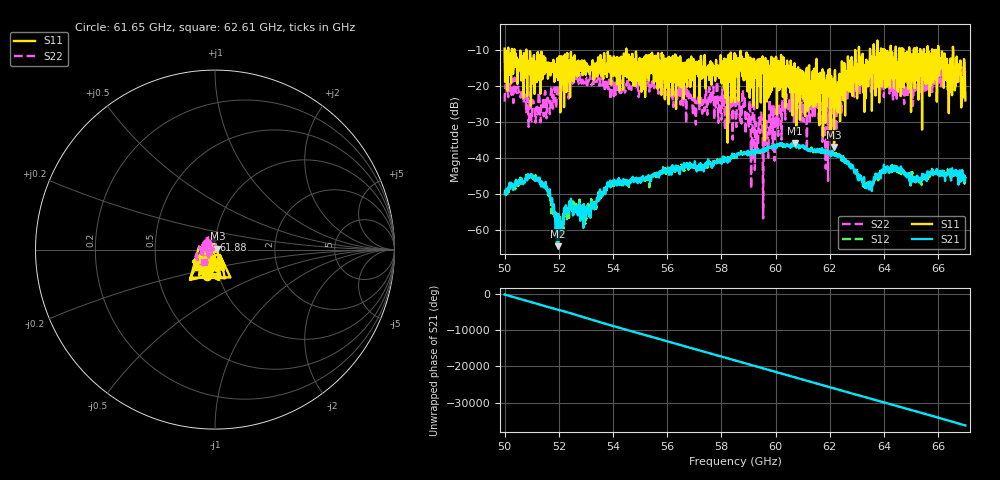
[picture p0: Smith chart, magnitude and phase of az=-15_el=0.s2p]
!Created with skrf (http://scikit-rf.org).
# GHz S RI R 50.0
!freq ReS11 ImS11 ReS21 ImS21 ReS12 ImS12 ReS22 ImS22
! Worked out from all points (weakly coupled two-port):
!   1001 points, 50 GHz to 67 GHz, reference 50 ohm
!   highest |S21| = -35.82 dB at 60.71 GHz (marker M1); lowest = -64.5 dB at 51.97 GHz (marker M2)
!   lowest |S11| = -37.0 dB at 62.16 GHz (marker M3), VSWR 1.03, Z = 51.4 + j0.49 ohm
!   |S11| at or under -10 dB: 50.8 GHz to 54.49 GHz (3.687 GHz wide, 7 % of centre); 54.49 GHz to 63.07 GHz (8.581 GHz wide, 14.6 % of centre); 66.01 GHz to 66.54 GHz (530.3 MHz wide, 0.8 % of centre) (the widest 3 of 27)
!   |S22| runs from -56.8 to -13.8 dB; largest |S21 - S12| = 0.0022
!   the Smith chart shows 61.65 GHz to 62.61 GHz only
!   S11 on the Smith chart (normalised r, x): 61.65 GHz: 0.88, -0.26; 61.88 GHz: 0.98, +0.10; 62.61 GHz: 0.86, -0.11
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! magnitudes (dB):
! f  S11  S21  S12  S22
! 50 GHz  -9.6  -50.1  -50.0  -24.4
! 50.42 GHz  -13.2  -47.2  -46.1  -21.6
! 51.17 GHz  -15.3  -46.3  -45.9  -26.0
! 51.58 GHz  -13.5  -49.3  -49.2  -23.3
! 51.97 GHz  -18.4  -64.5  -60.5  -19.9
! 52.41 GHz  -23.2  -52.7  -52.0  -16.7
! 52.84 GHz  -13.8  -53.7  -54.8  -19.4
! 53.94 GHz  -12.3  -46.8  -46.6  -19.7
! 55.68 GHz  -13.5  -44.8  -44.5  -22.2
! 58.5 GHz  -24.6  -39.7  -40.0  -24.5
! 59.62 GHz  -12.3  -37.3  -37.0  -36.4
! 59.84 GHz  -11.9  -36.7  -37.1  -25.5
! 60.71 GHz  -18.3  -35.8  -36.3  -20.7
! 61.34 GHz  -25.2  -37.5  -37.3  -25.9
! 61.65 GHz  -16.4  -38.5  -37.7  -24.8
! 61.88 GHz  -25.6  -38.6  -37.7  -23.2
! 62.16 GHz  -37.0  -38.9  -38.4  -28.0
! 62.61 GHz  -20.7  -41.0  -41.1  -20.6
! 63.38 GHz  -19.0  -47.6  -47.9  -19.5
! 64.18 GHz  -17.7  -44.1  -43.4  -18.6
! 66.08 GHz  -15.0  -43.7  -44.7  -15.7
! 67 GHz  -24.0  -45.6  -45.1  -15.7
